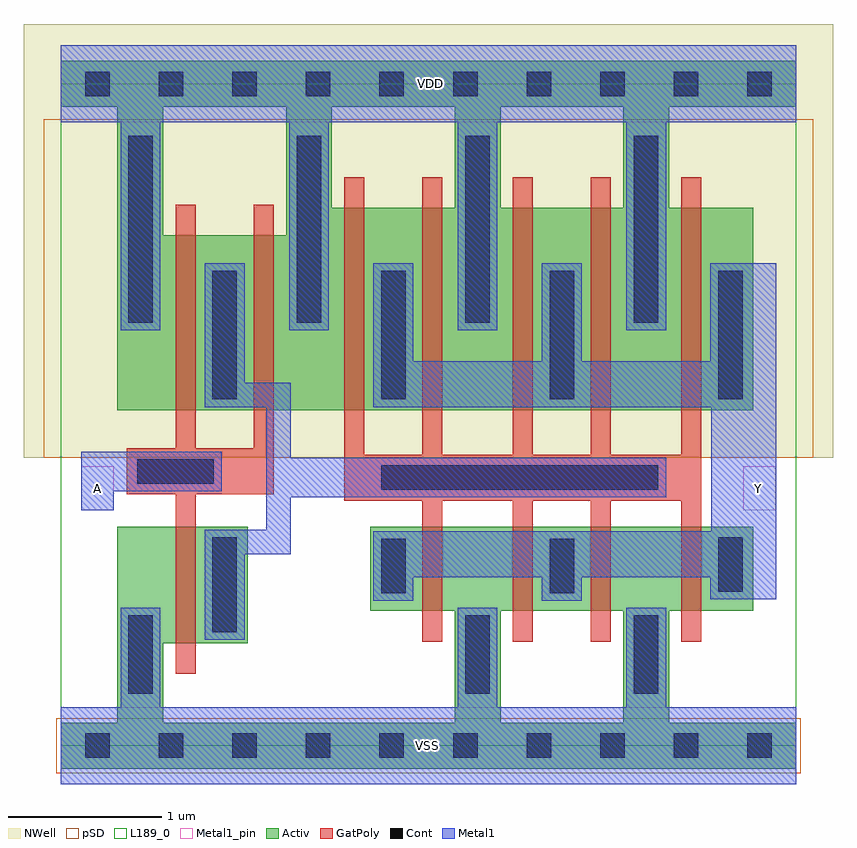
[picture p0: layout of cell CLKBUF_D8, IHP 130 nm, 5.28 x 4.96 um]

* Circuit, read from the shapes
.subckt CLKBUF_D8 A VDD VSS Y
XM1 n1 A VSS VSS sg13_lv_nmos w=0.76u l=0.13u
XM2 VSS n1 Y VSS sg13_lv_nmos w=0.55u l=0.13u m=4
XM3 n1 A VDD VDD sg13_lv_pmos w=1.14u l=0.13u m=2
XM4 Y n1 VDD VDD sg13_lv_pmos w=1.32u l=0.13u m=5
.ends

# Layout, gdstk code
import gdstk
lib = gdstk.Library(unit=1e-6, precision=1e-09)
def R(c, l, rs):  # rectangles x0, y0, x1, y1
    for r in rs: c.add(gdstk.rectangle(r[:2], r[2:], *l))
def A(c, l, x, y, w, h, nx, ny, dx, dy):  # array of equal rectangles
    R(c, l, [(x+i*dx, y+j*dy, x+i*dx+w, y+j*dy+h) for i in range(nx) for j in range(ny)])
def P(c, l, *ps):  # polygons
    for p in ps: c.add(gdstk.Polygon(p, *l))
Activ = (1, 0)
GatPoly = (5, 0)
Cont = (6, 0)
Metal1 = (8, 0)
Metal1_pin = (8, 2)
pSD = (14, 0)
NWell = (31, 0)
L189_0 = (189, 0)

clkbuf_d8 = lib.new_cell('CLKBUF_D8')
P(clkbuf_d8, Activ, [(0.37,2.19),(0.37,3.33),(0.67,3.33),(1.47,3.33),(1.47,3.51),(1.77,3.51),(2.57,3.51),(2.87,3.51),(3.67,3.51),(3.67,4.17),(2.87,4.17),(2.87,3.51),(2.57,3.51),(2.57,4.17),(1.77,4.17),(1.77,3.51),(1.47,3.51),(1.47,4.17),(0.67,4.17),(0.67,3.33),(0.37,3.33),(0.37,4.17),(0,4.17),(0,4.47),(4.8,4.47),(4.8,4.17),(3.97,4.17),(3.97,3.51),(4.52,3.51),(4.52,2.19)],
  [(0,-0.15),(0,0.15),(0.37,0.15),(0.37,1.43),(1.22,1.43),(1.22,0.67),(0.67,0.67),(0.67,0.15),(2.57,0.15),(2.87,0.15),(3.67,0.15),(3.67,0.88),(2.87,0.88),(2.87,0.15),(2.57,0.15),(2.57,0.88),(2.02,0.88),(2.02,1.43),(4.52,1.43),(4.52,0.88),(3.97,0.88),(3.97,0.15),(4.8,0.15),(4.8,-0.15)])
P(clkbuf_d8, GatPoly, [(0.75,0.47),(0.75,1.64),(0.43,1.64),(0.43,1.94),(0.75,1.94),(0.75,3.53),(0.88,3.53),(0.88,1.94),(1.26,1.94),(1.26,3.53),(1.39,3.53),(1.39,1.64),(0.88,1.64),(0.88,0.47)],
  [(2.36,0.68),(2.36,1.6),(1.85,1.6),(1.85,3.71),(1.98,3.71),(1.98,1.9),(2.36,1.9),(2.36,3.71),(2.49,3.71),(2.49,1.9),(2.95,1.9),(2.95,3.71),(3.08,3.71),(3.08,1.9),(3.46,1.9),(3.46,3.71),(3.59,3.71),(3.59,1.9),(4.05,1.9),(4.05,3.71),(4.18,3.71),(4.18,0.68),(4.05,0.68),(4.05,1.6),(3.59,1.6),(3.59,0.68),(3.46,0.68),(3.46,1.6),(3.08,1.6),(3.08,0.68),(2.95,0.68),(2.95,1.6),(2.49,1.6),(2.49,0.68)])
A(clkbuf_d8, Cont, 0.16, -0.08, 0.16, 0.16, 10, 2, 0.48, 4.32)
A(clkbuf_d8, Cont, 0.99, 2.26, 0.16, 0.84, 4, 1, 1.1, 0)
A(clkbuf_d8, Cont, 0.44, 2.76, 0.16, 1.22, 4, 1, 1.1, 0)
R(clkbuf_d8, Cont, [(0.44,0.34,0.6,0.85), (2.64,0.34,2.8,0.85), (3.74,0.34,3.9,0.85), (0.99,0.74,1.15,1.36), (2.09,0.995,2.25,1.35), (3.19,0.995,3.35,1.35), (4.29,1.005,4.45,1.36), (2.09,1.67,3.9,1.83), (0.5,1.71,1,1.87)])
R(clkbuf_d8, Metal1, [(0.39,2.71,0.65,4.07), (1.49,2.71,1.75,4.07)])
P(clkbuf_d8, Metal1, [(0.94,0.69),(0.94,1.41),(1.34,1.41),(1.34,2.21),(0.94,2.21),(0.94,3.15),(1.2,3.15),(1.2,2.37),(1.5,2.37),(1.5,1.88),(3.95,1.88),(3.95,1.62),(1.5,1.62),(1.5,1.25),(1.2,1.25),(1.2,0.69)],
  [(2.59,2.71),(2.59,4.07),(0,4.07),(0,4.57),(4.8,4.57),(4.8,4.07),(3.95,4.07),(3.95,2.71),(3.69,2.71),(3.69,4.07),(2.85,4.07),(2.85,2.71)],
  [(2.04,0.945),(2.04,1.4),(4.245,1.4),(4.245,2.21),(2.04,2.21),(2.04,3.15),(2.3,3.15),(2.3,2.51),(3.14,2.51),(3.14,3.15),(3.4,3.15),(3.4,2.51),(4.24,2.51),(4.24,3.15),(4.67,3.15),(4.67,0.955),(4.24,0.955),(4.24,1.1),(3.4,1.1),(3.4,0.945),(3.14,0.945),(3.14,1.1),(2.3,1.1),(2.3,0.945)],
  [(0.135,1.535),(0.135,1.92),(1.05,1.92),(1.05,1.66),(0.345,1.66),(0.345,1.535)],
  [(0,-0.25),(0,0.25),(0.39,0.25),(0.39,0.9),(0.65,0.9),(0.65,0.25),(2.59,0.25),(2.59,0.9),(2.85,0.9),(2.85,0.25),(3.69,0.25),(3.69,0.9),(3.95,0.9),(3.95,0.25),(4.8,0.25),(4.8,-0.25)])
R(clkbuf_d8, Metal1_pin, [(0,-0.25,4.8,0.25), (0.135,1.535,0.345,1.825), (4.455,1.535,4.665,1.825), (0,4.07,4.8,4.57)])
R(clkbuf_d8, pSD, [(-0.03,-0.18,4.83,0.18), (-0.11,1.88,4.91,4.09)])
R(clkbuf_d8, NWell, [(-0.24,1.88,5.04,4.71)])
R(clkbuf_d8, L189_0, [(0,0,4.8,4.32)])
clkbuf_d8.add(gdstk.Label('VSS', (2.395,0), layer=8, texttype=25))
clkbuf_d8.add(gdstk.Label('VDD', (2.41,4.32), layer=8, texttype=25))
clkbuf_d8.add(gdstk.Label('A', (0.24,1.68), layer=8, texttype=25))
clkbuf_d8.add(gdstk.Label('Y', (4.555,1.68), layer=8, texttype=25))

lib.write_gds('CLKBUF_D8.gds')
